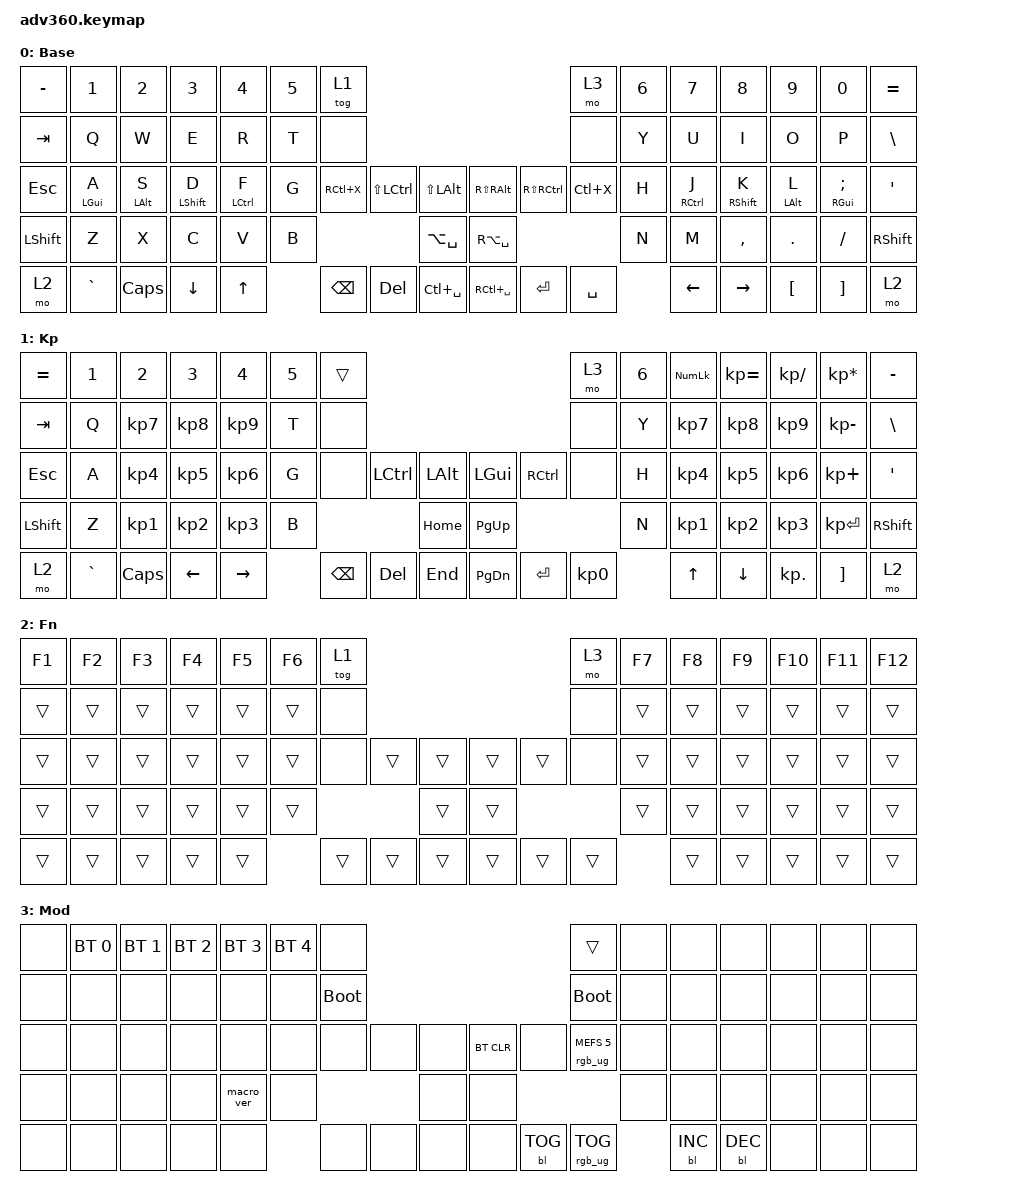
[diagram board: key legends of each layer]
/*
 * Copyright (c) 2020 The ZMK Contributors
 *
 * SPDX-License-Identifier: MIT
 */
/* THIS FILE WAS GENERATED!
 *
 * This file was generated automatically. You may or may not want to
 * edit it directly.
 */

#include <dt-bindings/zmk/stp.h>
#include <behaviors.dtsi>
#include <dt-bindings/zmk/backlight.h>
#include <dt-bindings/zmk/bt.h>
#include <dt-bindings/zmk/keys.h>
#include <dt-bindings/zmk/rgb.h>

/ {
    behaviors {
        #include "macros.dtsi"
      #include "version.dtsi"

        hm: homerow_mods {
            compatible = "zmk,behavior-hold-tap";
            label = "HOMEROW_MODS";
            #binding-cells = <2>;
            tapping-term-ms = <200>;
            quick_tap_ms = <175>;
            flavor = "tap-preferred";
            bindings = <&kp>, <&kp>;
        };
    };

    keymap {
        compatible = "zmk,keymap";

        default_layer {
            display-name = "Base";
            bindings = <
&kp MINUS  &kp N1      &kp N2      &kp N3        &kp N4       &kp N5  &tog 1                                                                     &mo 3      &kp N6  &kp N7       &kp N8        &kp N9      &kp N0         &kp EQUAL
&kp TAB    &kp Q       &kp W       &kp E         &kp R        &kp T   &none                                                                      &none      &kp Y   &kp U        &kp I         &kp O       &kp P          &kp BSLH
&kp ESC    &hm LGUI A  &hm LALT S  &hm LSHIFT D  &hm LCTRL F  &kp G   &kp RC(X)  &kp LS(LCTRL)  &kp LS(LALT)       &kp RS(RALT)   &kp RS(RCTRL)  &kp LC(X)  &kp H   &hm RCTRL J  &hm RSHIFT K  &hm LALT L  &hm RGUI SEMI  &kp SQT
&kp LSHFT  &kp Z       &kp X       &kp C         &kp V        &kp B                             &kp LA(SPACE)      &kp RA(SPACE)                            &kp N   &kp M        &kp COMMA     &kp DOT     &kp FSLH       &kp RSHFT
&mo 2      &kp GRAVE   &kp CAPS    &kp DOWN      &kp UP               &kp BSPC   &kp DELETE     &kp LC(SPACE)      &kp RC(SPACE)  &kp ENTER      &kp SPACE          &kp LEFT     &kp RIGHT     &kp LBKT    &kp RBKT       &mo 2
            >;
        };

        keypad {
            display-name = "Kp";
            bindings = <
&kp EQUAL  &kp N1     &kp N2     &kp N3     &kp N4     &kp N5  &trans                                                   &mo 3      &kp N6  &kp KP_NUM  &kp KP_EQUAL  &kp KP_DIVIDE  &kp KP_MULTIPLY  &kp MINUS
&kp TAB    &kp Q      &kp KP_N7  &kp KP_N8  &kp KP_N9  &kp T   &none                                                    &none      &kp Y   &kp KP_N7   &kp KP_N8     &kp KP_N9      &kp KP_MINUS     &kp BSLH
&kp ESC    &kp A      &kp KP_N4  &kp KP_N5  &kp KP_N6  &kp G   &none     &kp LCTRL  &kp LALT      &kp LGUI   &kp RCTRL  &none      &kp H   &kp KP_N4   &kp KP_N5     &kp KP_N6      &kp KP_PLUS      &kp SQT
&kp LSHFT  &kp Z      &kp KP_N1  &kp KP_N2  &kp KP_N3  &kp B                        &kp HOME      &kp PG_UP                        &kp N   &kp KP_N1   &kp KP_N2     &kp KP_N3      &kp KP_ENTER     &kp RSHFT
&mo 2      &kp GRAVE  &kp CAPS   &kp LEFT   &kp RIGHT          &kp BSPC  &kp DEL    &kp END       &kp PG_DN  &kp ENTER  &kp KP_N0          &kp UP      &kp DOWN      &kp KP_DOT     &kp RBKT         &mo 2
            >;
        };

        fn {
            display-name = "Fn";
            bindings = <
&kp F1  &kp F2  &kp F3  &kp F4  &kp F5  &kp F6  &tog 1                                      &mo 3   &kp F7  &kp F8  &kp F9  &kp F10  &kp F11  &kp F12
&trans  &trans  &trans  &trans  &trans  &trans  &none                                       &none   &trans  &trans  &trans  &trans   &trans   &trans
&trans  &trans  &trans  &trans  &trans  &trans  &none   &trans  &trans      &trans  &trans  &none   &trans  &trans  &trans  &trans   &trans   &trans
&trans  &trans  &trans  &trans  &trans  &trans                  &trans      &trans                  &trans  &trans  &trans  &trans   &trans   &trans
&trans  &trans  &trans  &trans  &trans          &trans  &trans  &trans      &trans  &trans  &trans          &trans  &trans  &trans   &trans   &trans
            >;
        };

        mod {
            display-name = "Mod";
            bindings = <
&none  &bt BT_SEL 0  &bt BT_SEL 1  &bt BT_SEL 2  &bt BT_SEL 3  &bt BT_SEL 4  &none                                                  &trans                  &none  &none       &none       &none  &none  &none
&none  &none         &none         &none         &none         &none         &bootloader                                            &bootloader             &none  &none       &none       &none  &none  &none
&none  &none         &none         &none         &none         &none         &none        &none  &none      &bt BT_CLR  &none       &rgb_ug RGB_MEFS_CMD 5  &none  &none       &none       &none  &none  &none
&none  &none         &none         &none         &macro_ver    &none                             &none      &none                                           &none  &none       &none       &none  &none  &none
&none  &none         &none         &none         &none                       &none        &none  &none      &none       &bl BL_TOG  &rgb_ug RGB_TOG                &bl BL_INC  &bl BL_DEC  &none  &none  &none
            >;
        };

        extra1 {
            display-name = "Red";
            status = "reserved";
        };

        extra2 {
            display-name = "Purple";
            status = "reserved";
        };

        extra3 {
            display-name = "Cyan";
            status = "reserved";
        };

        extra4 {
            display-name = "Yellow";
            status = "reserved";
        };
    };
};
